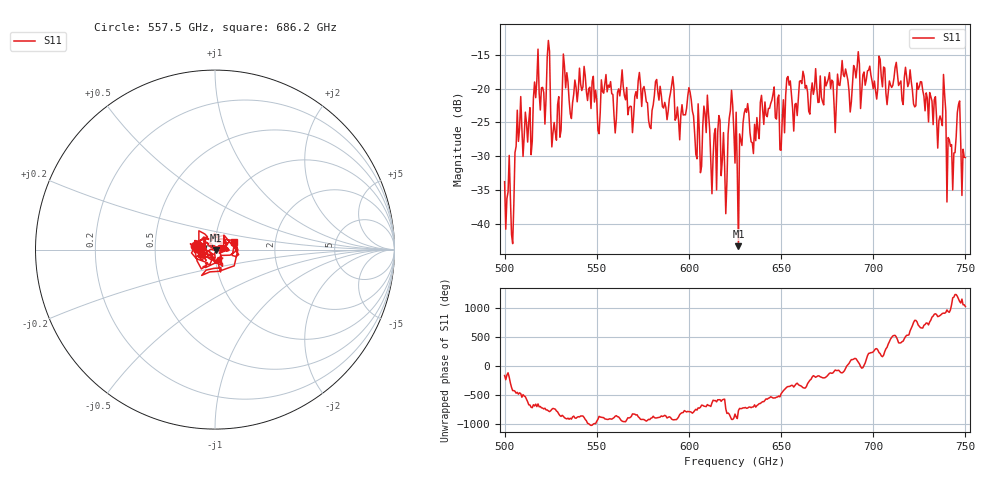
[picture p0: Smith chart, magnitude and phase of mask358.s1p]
!Created with skrf (http://scikit-rf.org).
# GHz S MA R 50.0
!freq magS11 angS11
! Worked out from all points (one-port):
!   401 points, 500 GHz to 750 GHz, reference 50 ohm
!   lowest |S11| = -43.3 dB at 626.9 GHz (marker M1), VSWR 1.01, Z = 50.5 - j0.491 ohm
!   |S11| at or under -10 dB: start of sweep to end of sweep
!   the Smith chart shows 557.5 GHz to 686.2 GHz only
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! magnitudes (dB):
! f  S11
! 500 GHz  -33.8
! 504.4 GHz  -43.0
! 507.5 GHz  -27.8
! 513.8 GHz  -22.8
! 516.9 GHz  -21.3
! 523.8 GHz  -12.8
! 526.9 GHz  -25.0
! 531.2 GHz  -20.8
! 562.5 GHz  -21.1
! 579.4 GHz  -25.9
! 590.6 GHz  -19.5
! 593.8 GHz  -22.7
! 600.6 GHz  -20.5
! 605.6 GHz  -26.2
! 609.4 GHz  -26.5
! 619.4 GHz  -31.5
! 622.5 GHz  -23.2
! 625 GHz  -31.0
! 626.9 GHz  -43.3
! 631.2 GHz  -23.5
! 635 GHz  -29.6
! 656.2 GHz  -22.9
! 687.5 GHz  -23.4
! 718.8 GHz  -19.7
! 738.1 GHz  -17.9
! 743.1 GHz  -35.0
! 746.2 GHz  -22.4
! 750 GHz  -30.2
